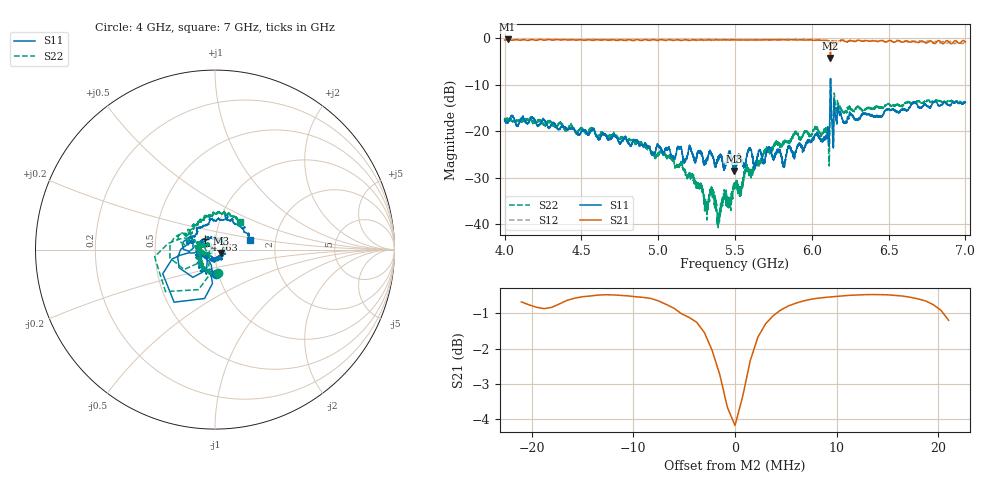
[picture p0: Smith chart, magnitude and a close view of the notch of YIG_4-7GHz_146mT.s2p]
#  HZ  S  RI  R  50.0
! Rohde & Schwarz ZVL13 2Ports - Version 3.31 - 1303.6509k13 SN: 101088
! Date: 2023-03-06 15:07:31
! Data & Calibration Information:
! Trc4:S11(TOSM) Trc2:S21(TOSM) Trc3:S12(TOSM) Trc5:S22(TOSM)
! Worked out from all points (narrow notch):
!   4000 points, 4 GHz to 7 GHz, reference 50 ohm
!   highest |S21| = -0.19 dB at 4.02 GHz (marker M1); lowest = -4.2 dB at 6.122 GHz (marker M2)
!   notch at M2: 3.8 dB deep, 3.6 MHz wide at half that depth
!   lowest |S11| = -28.5 dB at 5.493 GHz (marker M3), VSWR 1.08, Z = 53.4 - j1.98 ohm
!   |S11| at or under -10 dB: start of sweep to 6.121 GHz; 6.123 GHz to end of sweep
!   |S22| runs from -40.7 to -8.7 dB; largest |S21 - S12| = 0.078
!   S11 on the Smith chart (normalised r, x): 4 GHz: 0.97, -0.27; 4.763 GHz: 0.89, +0.10; 7 GHz: 1.48, +0.17
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4e9  0.00381 -0.1339  -0.907 -0.3139  -0.9123 -0.2927  0.0181 -0.1276
4.019505e9  -0.018 -0.1229  -0.9397 -0.2736  -0.9315 -0.2764  0.0119 -0.139
4.276819e9  -0.072 -0.0905  -0.9293 0.2806  -0.9313 0.2908  -0.0677 -0.1036
4.500375e9  -0.0993 -0.00836  -0.6605 0.7077  -0.6553 0.6949  -0.081 -0.0653
4.762941e9  -0.057 0.0563  -0.1508 0.9531  -0.1656 0.9491  -0.0866 -0.00022
5e9  -0.000317 0.0701  0.3317 0.8976  0.3346 0.885  -0.0464 0.0337
5.214554e9  0.0447 0.0461  0.7204 0.6329  0.7176 0.6392  -0.0204 0.0246
5.311328e9  0.0499 0.00597  0.841 0.4632  0.8324 0.4715  -0.0113 0.00874
5.348087e9  0.0554 0.0127  0.8791 0.3923  0.8693 0.3786  -0.0228 0.0105
5.390098e9  0.0509 -0.00959  0.9135 0.3133  0.9168 0.2946  -0.011 0.0022
5.492873e9  0.0328 -0.0186  0.9618 0.0901  0.9608 0.0783  -0.0224 -0.00691
5.500375e9  0.0335 -0.0291  0.9626 0.0728  0.9507 0.0667  -0.0208 -0.0127
5.595649e9  0.0358 -0.0532  0.9545 -0.1296  0.948 -0.1433  -0.0307 -0.0206
5.700675e9  -0.0165 -0.0529  0.9004 -0.3543  0.8916 -0.3603  -0.0578 -0.0272
5.818455e9  -0.0264 -0.0354  0.7707 -0.5905  0.7631 -0.5835  -0.0714 -0.015
6e9  -0.0765 -0.0129  0.4366 -0.8544  0.4471 -0.8745  -0.0928 0.0193
6.099025e9  -0.0759 -0.0377  0.1733 -0.9219  0.2052 -0.9419  -0.0902 0.0162
6.12153e9  -0.2278 -0.2931  0.1379 -0.6022  0.116 -0.6729  -0.2759 -0.2338
6.15904e9  -0.1292 0.0364  0.1247 -0.9165  0.1187 -0.9426  -0.1475 0.0783
6.500375e9  -0.0232 0.1727  -0.5853 -0.743  -0.6021 -0.7434  -0.0532 0.1883
6.773443e9  0.1163 0.1391  -0.9143 -0.2371  -0.874 -0.2001  0.055 0.2003
7e9  0.1973 0.0552  -0.8813 0.2525  -0.9015 0.2247  0.1393 0.1522
